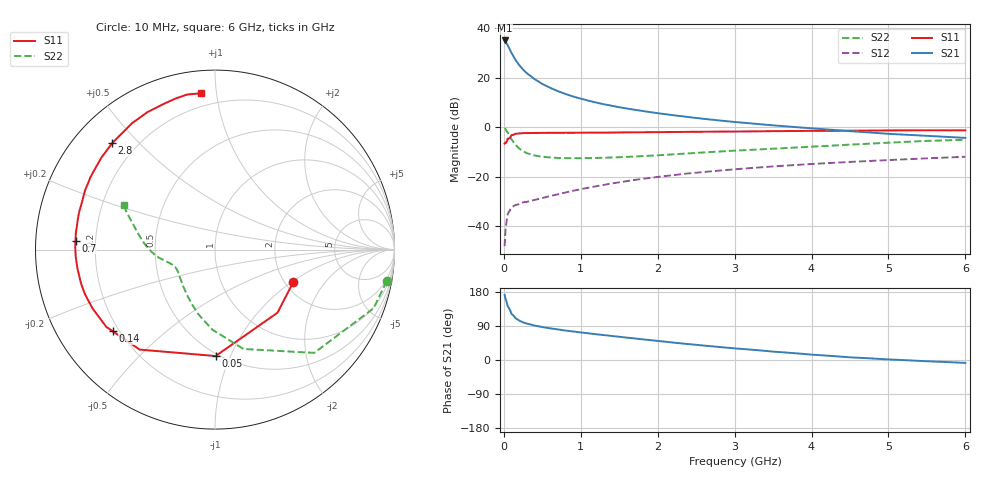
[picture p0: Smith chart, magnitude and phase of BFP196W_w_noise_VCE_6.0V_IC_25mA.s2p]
! Infineon Technologies  Discrete & RF Semiconductors
! BFP196W
! VCE =  6.0 V,  IC =  25 mA
! Common Emitter S-Parameters:  Jan 2017
# GHz  S  MA  R  50
!  f  S11  S21  S12  S22
! GHz  MAG  ANG  MAG  ANG  MAG  ANG  MAG  ANG
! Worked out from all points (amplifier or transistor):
!   77 points, 10 MHz to 6 GHz, reference 50 ohm
!   highest |S21| = 35.1 dB at 10 MHz (marker M1)
!   |S21| within 3 dB of that: start of sweep to 67.66 MHz
!   unconditionally stable (mu >= 1): 909.7 MHz to 3.242 GHz
!   at 130 MHz: K = 0.27, MSG = 30.1 dB, |S12| = -31.7 dB
!   at 2.2 GHz: K = 1.05, MAG = 10.7 dB, |S12| = -19.3 dB
!   at 6 GHz: K = 0.91, MSG = 3.8 dB, |S12| = -11.8 dB
!   lowest NFmin = 1.07 dB at 450 MHz
!   S11 on the Smith chart (normalised r, x): 10 MHz: 2.23, -1.03; 50 MHz: 0.48, -0.88; 140 MHz: 0.18, -0.34; 700 MHz: 0.12, +0.03; 2.8 GHz: 0.11, +0.42; 6 GHz: 0.12, +0.90
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0.01  0.4723 -22.3  57.11 172.0  0.004 78.0  0.9723 -10.5
0.02  0.495 -45.3  55.34 162.9  0.0077 73.4  0.9421 -20.3
0.05  0.5931 -89.7  45.95 142.2  0.0176 56.6  0.7982 -46.1
0.1  0.6975 -127.0  31.82 121.6  0.0241 43.0  0.5762 -74.0
0.14  0.7287 -141.3  24.94 113.6  0.0265 38.3  0.4678 -87.6
0.15  0.7431 -144.6  23.32 110.9  0.0271 37.3  0.446 -91.9
0.2  0.7571 -154.4  18.11 104.1  0.0282 35.3  0.3755 -103.7
0.25  0.7659 -161.1  14.74 99.3  0.0307 35.4  0.3302 -112.9
0.3  0.77 -165.8  12.38 96.0  0.0315 36.4  0.3025 -120.0
0.4  0.7736 -172.4  9.424 90.7  0.0343 39.5  0.2715 -130.5
0.5  0.7771 -177.0  7.562 86.9  0.0375 42.5  0.2558 -137.5
0.6  0.779 179.2  6.331 83.6  0.0412 44.8  0.2483 -142.7
0.7  0.7786 176.3  5.423 80.8  0.0445 47.7  0.2419 -146.4
0.9  0.7803 170.6  4.218 75.3  0.0526 51.3  0.24 -151.4
1.1  0.7842 166.1  3.474 70.5  0.0607 54.1  0.2411 -154.9
1.5  0.791 157.8  2.56 61.3  0.0778 55.3  0.2508 -160.2
2.1  0.8057 146.0  1.853 48.3  0.1044 54.4  0.28 -166.5
2.8  0.8243 134.1  1.384 34.3  0.1344 50.8  0.3258 -173.4
3.1  0.8286 129.4  1.25 29.1  0.1467 48.7  0.3457 -176.7
4.1  0.8537 114.9  0.935 12.9  0.1863 41.6  0.416 171.6
5.1  0.8708 103.9  0.729 0.6  0.2229 34.1  0.5002 160.3
6  0.8743 95.3  0.615 -7.6  0.2556 27.2  0.5633 154.0
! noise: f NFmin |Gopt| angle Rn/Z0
0.45  1.07  0.43  175  0.05
0.9  1.24  0.51  -179  0.06
1.9  2.11  0.68  -152  0.12
2.4  2.53  0.74  -146  0.21
